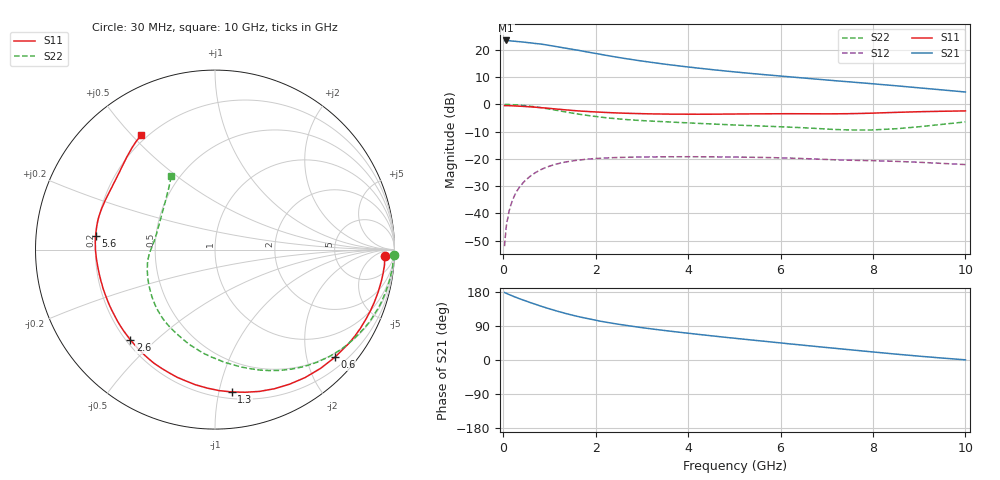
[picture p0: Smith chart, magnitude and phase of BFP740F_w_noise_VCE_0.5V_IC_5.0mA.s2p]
! Infineon Technologies  Discrete & RF Semiconductors
! BFP740F
! VCE =  0.5 V,  IC =  5.0 mA
! Common Emitter S-Parameters:  Oct 2012
# GHz  S  MA  R  50
!  f  S11  S21  S12  S22
! GHz  MAG  ANG  MAG  ANG  MAG  ANG  MAG  ANG
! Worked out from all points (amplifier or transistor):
!   99 points, 30 MHz to 10 GHz, reference 50 ohm
!   highest |S21| = 23.4 dB at 60 MHz (marker M1)
!   |S21| within 3 dB of that: start of sweep to 1.406 GHz
!   unconditionally stable (mu >= 1): 7.736 GHz to end of sweep
!   at 350 MHz: K = 0.04, MSG = 26.7 dB, |S12| = -30.5 dB
!   at 3.5 GHz: K = 0.34, MSG = 17.0 dB, |S12| = -19.3 dB
!   at 10 GHz: K = 1.27, MAG = 10.2 dB, |S12| = -22.1 dB
!   lowest NFmin = 0.37 dB at 450 MHz
!   S11 on the Smith chart (normalised r, x): 30 MHz: 25, -18; 600 MHz: 0.41, -2.55; 1.3 GHz: 0.25, -1.09; 2.6 GHz: 0.22, -0.42; 5.6 GHz: 0.20, +0.06; 10 GHz: 0.18, +0.53
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0.03  0.9486 -2.2  14.71 177.9  0.0025 87.1  0.9953 -1.7
0.06  0.9473 -4.4  14.86 176.4  0.0052 85.3  0.9952 -3.4
0.15  0.943 -11.0  14.64 171.5  0.0131 82.9  0.9895 -8.5
0.35  0.9254 -25.1  14.11 161.8  0.03 75.2  0.9669 -19.5
0.6  0.8977 -41.9  13.41 150.9  0.0492 64.9  0.9198 -32.8
0.8  0.8718 -54.9  12.81 142.7  0.0626 57.1  0.8731 -43.0
0.9  0.8573 -61.0  12.44 138.8  0.0683 53.5  0.8463 -47.9
1.1  0.828 -72.6  11.67 131.4  0.0781 46.5  0.7913 -57.3
1.3  0.7985 -83.3  10.91 124.5  0.0859 40.4  0.7382 -65.9
1.6  0.761 -98.2  9.893 115.3  0.0942 32.6  0.6693 -77.6
1.7  0.7494 -102.6  9.54 112.5  0.0962 30.4  0.6475 -81.4
2.1  0.7185 -118.3  8.296 102.4  0.1026 22.0  0.5836 -95.7
2.4  0.699 -127.6  7.468 96.2  0.1054 17.0  0.5503 -104.3
2.6  0.689 -133.2  7.009 92.5  0.1065 14.2  0.5312 -109.4
3  0.6744 -143.2  6.235 85.4  0.1081 9.2  0.5032 -118.7
3.4  0.665 -151.8  5.597 79.2  0.109 4.8  0.4839 -126.3
4.2  0.6587 -166.1  4.634 67.9  0.1093 -2.6  0.4489 -139.2
5.1  0.6661 -179.8  3.871 56.2  0.1076 -9.8  0.4148 -153.1
5.6  0.6697 173.3  3.534 50.1  0.1063 -13.5  0.3996 -160.2
6.7  0.6702 157.7  2.937 36.6  0.0996 -20.9  0.364 -177.3
8.5  0.7124 133.6  2.191 15.5  0.0899 -28.4  0.3566 145.9
10  0.758 122.7  1.683 0.5  0.0785 -33.6  0.476 120.8
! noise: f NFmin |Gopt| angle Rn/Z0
0.45  0.37  0.38  7  0.2
0.9  0.42  0.38  14  0.17
1.5  0.5  0.37  24  0.14
1.9  0.55  0.35  33  0.14
2.4  0.61  0.33  42  0.13
3.5  0.76  0.31  65  0.12
5.5  1.02  0.2  113  0.15
10  1.55  0.42  -127  0.08
